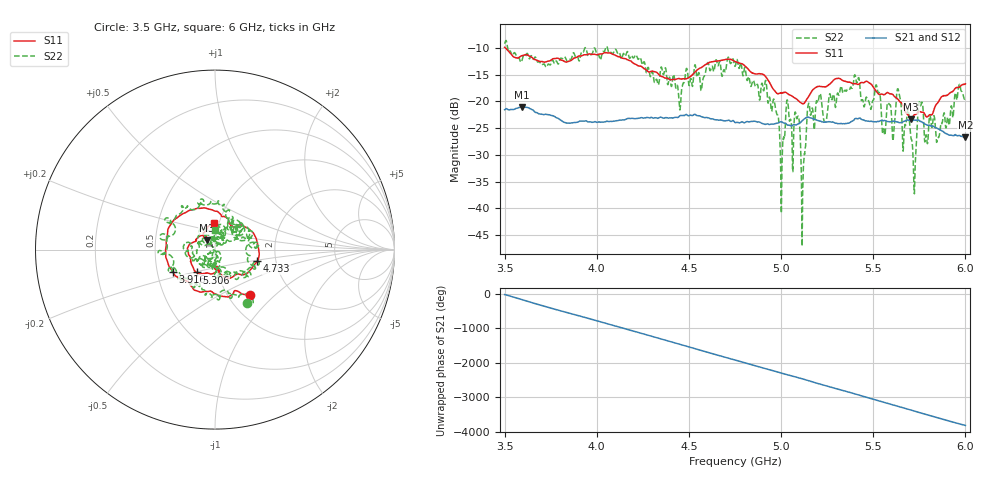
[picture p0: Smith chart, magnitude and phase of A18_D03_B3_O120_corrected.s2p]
! Created with skrf 1.9.0 (http://scikit-rf.org).
# Hz S RI R 50.0
!freq ReS11 ImS11 ReS21 ImS21 ReS12 ImS12 ReS22 ImS22
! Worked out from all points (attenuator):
!   1601 points, 3.5 GHz to 6 GHz, reference 50 ohm
!   highest |S21| = -21.05 dB at 3.592 GHz (marker M1); lowest = -26.7 dB at 6 GHz (marker M2)
!   lowest |S11| = -23.3 dB at 5.705 GHz (marker M3), VSWR 1.15, Z = 45.4 + j4.63 ohm
!   |S11| at or under -10 dB: 3.504 GHz to end of sweep
!   |S22| runs from -47.0 to -8.6 dB; largest |S21 - S12| = 0.00098
!   S11 on the Smith chart (normalised r, x): 3.5 GHz: 1.26, -0.71; 3.916 GHz: 0.60, -0.16; 4.733 GHz: 1.60, -0.22; 5.306 GHz: 0.79, -0.21; 6 GHz: 0.95, +0.28
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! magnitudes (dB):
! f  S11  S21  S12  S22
! 3.5 GHz  -9.9  -21.5  -21.5  -9.2
! 3.592 GHz  -11.5  -21.0  -21.1  -12.5
! 3.916 GHz  -11.5  -23.7  -23.7  -11.0
! 3.917 GHz  -11.5  -23.7  -23.7  -10.8
! 4.334 GHz  -14.9  -23.2  -23.1  -16.9
! 4.733 GHz  -12.2  -23.7  -23.7  -12.6
! 4.75 GHz  -12.6  -24.0  -23.9  -13.5
! 4.967 GHz  -18.1  -24.2  -24.1  -20.8
! 5.005 GHz  -18.4  -23.8  -23.9  -32.2
! 5.034 GHz  -18.5  -24.4  -24.3  -19.8
! 5.086 GHz  -19.6  -24.3  -24.3  -23.3
! 5.119 GHz  -20.4  -23.5  -23.4  -34.7
! 5.145 GHz  -19.3  -22.9  -22.9  -20.9
! 5.167 GHz  -18.1  -23.1  -23.1  -21.4
! 5.306 GHz  -15.7  -24.2  -24.1  -18.5
! 5.584 GHz  -18.5  -23.8  -23.8  -20.4
! 5.638 GHz  -19.8  -23.9  -23.9  -18.1
! 5.705 GHz  -23.3  -23.6  -23.5  -26.8
! 5.722 GHz  -22.5  -23.5  -23.5  -37.0
! 5.756 GHz  -22.0  -23.7  -23.7  -20.8
! 5.85 GHz  -20.3  -25.1  -25.0  -26.8
! 6 GHz  -16.7  -26.7  -26.6  -19.4
